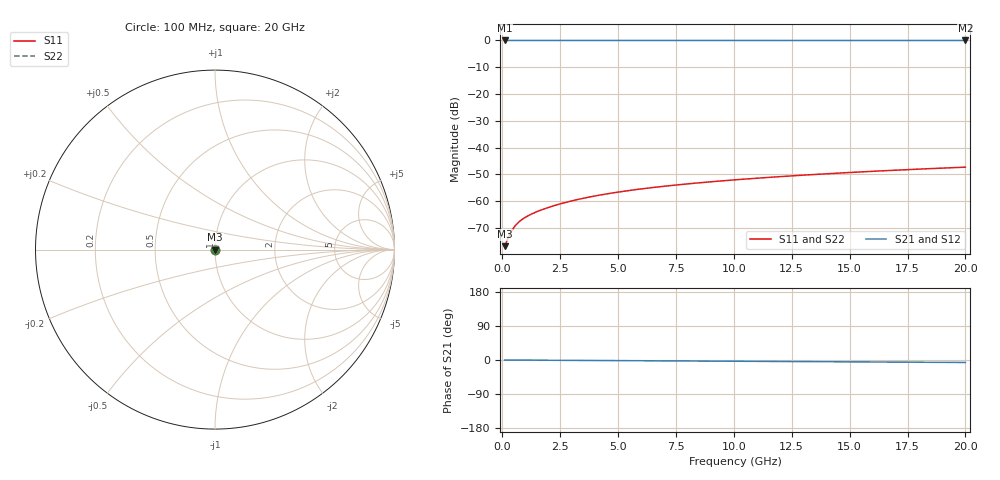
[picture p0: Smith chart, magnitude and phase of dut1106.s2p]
! Touchstone file exported from HFSS 2026.1.0
!  File:  C:/ffzhzh/LocalFiles/Ansys_Project_Files/temp_train_TSV_1106_1783190621_18472.aedt
!  Generated:  02:45:04 AM Jul  5, 2026
!  Design:  TSV
!  Project:  temp_train_TSV_1106_1783190621_18472
! Variables:
!  h_bsmrdl = 2um
!  h_ox = 20um
!  h_rdl = 5um
!  h_sub = 64.29um
!  h_tmrdl = 5um
!  h_tsv = 64.29um
!  h_via = 3um
!  l_bsmrdl = 300um
!  l_sub = 417.62um
!  l_tmrdl = 200um
!  m_sub = 200um
!  pitch = 36.94um
!  r_tsv = 8.81um
!  s_tmrdl = 10um
!  w_bsmrdl = 18um
!  w_sub = 500um
!  w_tmrdl = 12um
!  x_tsv_center1 = 206um
!  x_tsv_center2 = 524um
!  x_tsv_center3 = 736um
!  x_tsv_center4 = 1054um
!  x_tsv_center5 = 1266um
!  x_tsv_center6 = 1584um
# GHz S MA R 50.000000
! Terminal data exported
! Port[1] = TSV1_1_T1
! Port[2] = TSV1_1_T2
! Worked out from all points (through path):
!   200 points, 100 MHz to 20 GHz, reference 50 ohm
!   highest |S21| = 0.00 dB at 100 MHz (marker M1); lowest = 0.0 dB at 20 GHz (marker M2)
!   lowest |S11| = -76.8 dB at 100 MHz (marker M3), VSWR 1.00, Z = 50 + j0.00591 ohm
!   |S11| at or under -10 dB: start of sweep to end of sweep
!   |S22| runs from -76.8 to -47.3 dB; largest |S21 - S12| = 2.5e-15
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0.1  0.0001451 24.0  0.9999 -0.0  0.9999 -0.0  0.0001451 24.0
! Gamma 0 0 0 0
! Port Impedance 50 0 50 0
0.3  0.0002315 46.4  0.9998 -0.1  0.9998 -0.1  0.0002315 46.4
0.4  0.0002792 50.1  0.9998 -0.1  0.9998 -0.1  0.0002792 50.1
0.5  0.0003244 51.9  0.9998 -0.2  0.9998 -0.2  0.0003244 51.9
0.6  0.0003662 52.9  0.9998 -0.2  0.9998 -0.2  0.0003662 52.9
0.7  0.0004044 53.5  0.9998 -0.2  0.9998 -0.2  0.0004044 53.5
0.8  0.0004397 53.9  0.9997 -0.3  0.9997 -0.3  0.0004397 53.9
1  0.0005032 54.7  0.9997 -0.3  0.9997 -0.3  0.0005032 54.7
1.2  0.0005605 55.5  0.9997 -0.4  0.9997 -0.4  0.0005605 55.5
1.4  0.0006144 56.4  0.9997 -0.5  0.9997 -0.5  0.0006144 56.4
2  0.0007679 59.0  0.9996 -0.7  0.9996 -0.7  0.0007679 59.0
2.7  0.0009421 61.3  0.9996 -0.9  0.9996 -0.9  0.0009421 61.3
3.5  0.001136 63.0  0.9995 -1.2  0.9995 -1.2  0.001136 63.0
4.2  0.001301 63.9  0.9995 -1.4  0.9995 -1.4  0.001301 63.9
5  0.001482 64.6  0.9994 -1.6  0.9994 -1.6  0.001482 64.7
5.9  0.001677 65.2  0.9993 -1.9  0.9993 -1.9  0.001677 65.2
6.8  0.001865 65.7  0.9993 -2.2  0.9993 -2.2  0.001865 65.7
8.3  0.002168 66.3  0.9992 -2.7  0.9992 -2.7  0.002168 66.3
10.1  0.002519 66.9  0.9991 -3.3  0.9991 -3.3  0.002519 66.9
13.4  0.003143 67.5  0.999 -4.4  0.999 -4.4  0.003143 67.5
16.7  0.003747 67.6  0.9989 -5.4  0.9989 -5.4  0.003747 67.6
20  0.004327 67.3  0.9988 -6.5  0.9988 -6.5  0.004326 67.3
